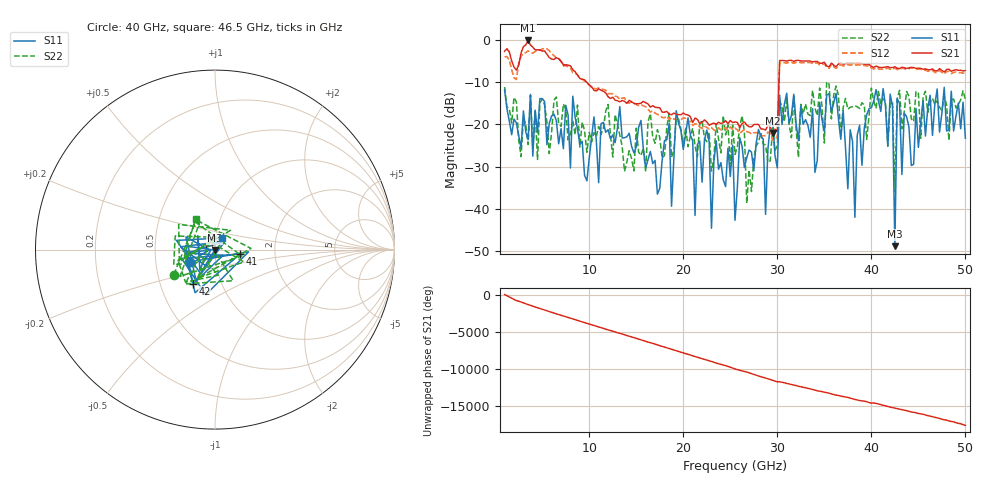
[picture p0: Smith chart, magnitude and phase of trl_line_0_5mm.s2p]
# GHz S RI R 50.0
!freq ReS11 ImS11 ReS21 ImS21 ReS12 ImS12 ReS22 ImS22
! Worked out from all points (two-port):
!   197 points, 1 GHz to 50 GHz, reference 50 ohm
!   highest |S21| = -0.17 dB at 3.5 GHz (marker M1); lowest = -22.1 dB at 29.5 GHz (marker M2)
!   |S21| within 3 dB of the highest: start of sweep to 1.534 GHz; 2.743 GHz to 5.42 GHz (2.677 GHz wide, 65.6 % of centre)
!   lowest |S11| = -48.8 dB at 42.5 GHz (marker M3), VSWR 1.01, Z = 49.8 - j0.291 ohm
!   |S11| at or under -10 dB: start of sweep to end of sweep
!   |S22| runs from -38.6 to -9.9 dB; largest |S21 - S12| = 1.5
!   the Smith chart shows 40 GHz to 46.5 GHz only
!   S11 on the Smith chart (normalised r, x): 40 GHz: 0.75, -0.11; 41 GHz: 1.32, -0.07; 42 GHz: 0.73, -0.30; 46.5 GHz: 1.07, +0.14
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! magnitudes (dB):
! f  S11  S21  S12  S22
! 1 GHz  -11.9  -2.7  -4.1  -11.2
! 3.5 GHz  -23.6  -0.2  -2.6  -24.7
! 9.25 GHz  -24.0  -9.4  -9.2  -19.4
! 17.5 GHz  -35.1  -16.1  -17.9  -23.1
! 18.5 GHz  -19.7  -17.6  -18.9  -17.3
! 18.75 GHz  -39.3  -17.7  -18.4  -27.7
! 19.25 GHz  -16.8  -17.6  -18.7  -18.6
! 25.5 GHz  -42.7  -19.4  -20.9  -27.1
! 28 GHz  -21.2  -20.0  -22.1  -24.2
! 28.75 GHz  -41.3  -21.3  -22.6  -24.9
! 29.5 GHz  -18.7  -22.1  -23.7  -20.8
! 33.75 GHz  -16.3  -5.3  -5.6  -12.0
! 37 GHz  -16.7  -5.8  -6.2  -16.1
! 38.25 GHz  -41.9  -5.6  -6.0  -15.6
! 40 GHz  -16.1  -6.3  -6.7  -11.4
! 41 GHz  -16.9  -6.6  -7.0  -15.1
! 42 GHz  -12.8  -6.6  -7.0  -15.2
! 42.5 GHz  -48.8  -6.4  -6.7  -35.9
! 42.75 GHz  -13.9  -6.7  -7.0  -13.9
! 43.25 GHz  -31.8  -6.5  -6.7  -21.1
! 46.5 GHz  -22.6  -6.9  -7.2  -13.9
! 50 GHz  -23.3  -7.3  -7.8  -14.1
